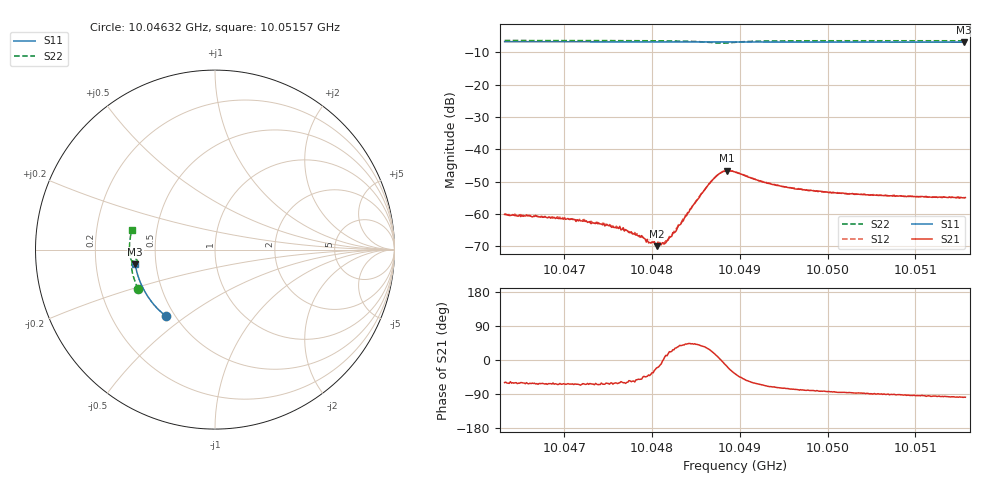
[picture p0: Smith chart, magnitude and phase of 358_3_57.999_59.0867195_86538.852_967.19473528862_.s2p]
#  HZ  S  RI  R  50.00
! Rohde & Schwarz Vector Network Analyzer
! Rohde-Schwarz,ZNB20-2Port,1311601062101988,3.16
! Created: UTC 3/21/2024, 1:06:18 AM
! freq[Hz]  re:S11  im:S11  re:S21  im:S21  re:S12  im:S12  re:S22  im:S22
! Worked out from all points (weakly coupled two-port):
!   401 points, 10.04632 GHz to 10.05157 GHz, reference 50 ohm
!   highest |S21| = -46.62 dB at 10.04885 GHz (marker M1); lowest = -70.0 dB at 10.04805 GHz (marker M2)
!   lowest |S11| = -6.9 dB at 10.05156 GHz (marker M3), VSWR 2.65, Z = 19 - j3.81 ohm
!   |S11| at or under -10 dB: nowhere
!   |S22| runs from -7.2 to -6.4 dB; largest |S21 - S12| = 0.00031
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1.004632e10  -0.2751 -0.3703  0.0005 -0.000847  0.000595 -0.000824  -0.4282 -0.2194
1.0047199e10  -0.3181 -0.3312  0.000341 -0.000704  0.000391 -0.00068  -0.4505 -0.1643
1.0047646e10  -0.3379 -0.3095  0.000308 -0.000476  0.000331 -0.00051  -0.4589 -0.1344
1.0047882e10  -0.348 -0.2973  0.000295 -0.000357  0.000305 -0.000318  -0.4623 -0.1174
1.0047961e10  -0.3512 -0.2934  0.000275 -0.000226  0.000323 -0.000233  -0.4632 -0.1117
1.0048052e10  -0.355 -0.2886  0.000297 -0.000112  0.000319 -0.000118  -0.4641 -0.1047
1.0048079e10  -0.3559 -0.2873  0.000307 -9.53e-05  0.000357 -5.33e-05  -0.4644 -0.1025
1.0048144e10  -0.3586 -0.2837  0.000344 4.85e-05  0.000358 6.99e-05  -0.4646 -0.0974
1.0048197e10  -0.3606 -0.281  0.000398 0.000161  0.000417 0.000165  -0.4649 -0.0929
1.0048341e10  -0.3662 -0.2733  0.000595 0.000478  0.000568 0.000544  -0.4639 -0.0806
1.0048525e10  -0.3729 -0.2632  0.00131 0.00111  0.00126 0.00123  -0.458 -0.0636
1.0048696e10  -0.3789 -0.2538  0.00323 0.00117  0.00321 0.00138  -0.4407 -0.0549
1.0048775e10  -0.3815 -0.2496  0.00426 0.0002  0.00425 0.000435  -0.4327 -0.0607
1.0048853e10  -0.3842 -0.2451  0.00447 -0.00135  0.00456 -0.0011  -0.4335 -0.0709
1.0048945e10  -0.3873 -0.2402  0.0036 -0.00263  0.00379 -0.00244  -0.4443 -0.0761
1.0049195e10  -0.3954 -0.226  0.00154 -0.00298  0.00171 -0.00291  -0.4659 -0.0603
1.0049392e10  -0.4015 -0.2145  0.000926 -0.00268  0.00108 -0.00265  -0.4721 -0.0436
1.0049825e10  -0.4135 -0.1886  0.000381 -0.00226  0.000464 -0.00225  -0.4764 -0.0103
1.0050219e10  -0.4231 -0.1645  0.000155 -0.00206  0.000246 -0.00202  -0.4764 0.0177
1.0050704e10  -0.4328 -0.1343  -5.99e-05 -0.00191  4.99e-05 -0.00189  -0.4741 0.0508
1.0051558e10  -0.4448 -0.0798  -0.000244 -0.00175  -0.000193 -0.00178  -0.4641 0.1069
1.0051571e10  -0.4451 -0.0789  -0.000257 -0.00177  -0.000189 -0.00175  -0.4639 0.1077
